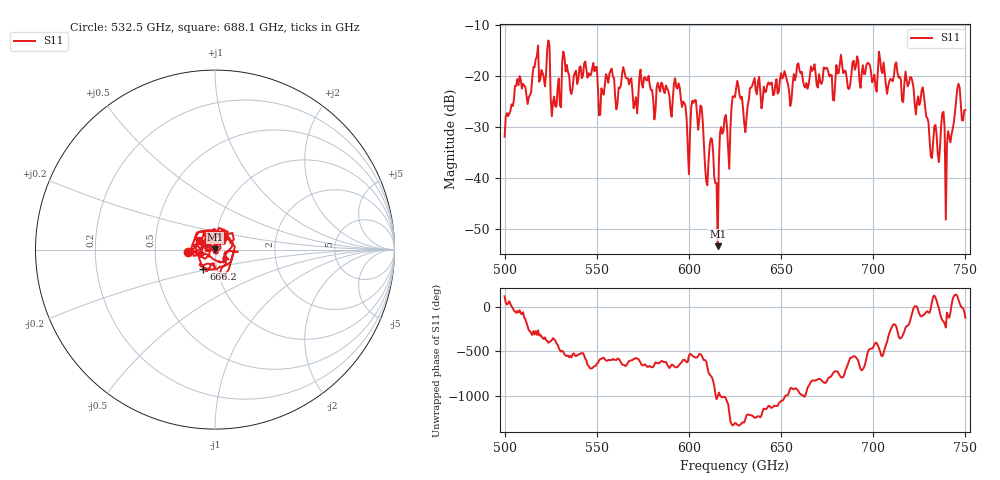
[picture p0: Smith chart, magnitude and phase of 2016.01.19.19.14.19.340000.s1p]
!Created with skrf (http://scikit-rf.org).
# GHz S RI R 50.0
!freq ReS11 ImS11
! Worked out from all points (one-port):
!   401 points, 500 GHz to 750 GHz, reference 50 ohm
!   lowest |S11| = -53.4 dB at 615.6 GHz (marker M1), VSWR 1.00, Z = 50.1 + j0.201 ohm
!   |S11| at or under -10 dB: start of sweep to end of sweep
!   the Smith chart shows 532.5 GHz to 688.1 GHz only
!   S11 on the Smith chart (normalised r, x): 532.5 GHz: 0.74, -0.02; 666.2 GHz: 0.86, -0.19; 688.1 GHz: 0.84, +0.09
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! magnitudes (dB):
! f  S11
! 500 GHz  -31.9
! 513.1 GHz  -24.2
! 516.9 GHz  -16.7
! 523.8 GHz  -13.0
! 526.9 GHz  -24.0
! 531.2 GHz  -17.2
! 532.5 GHz  -16.4
! 562.5 GHz  -22.4
! 593.8 GHz  -22.5
! 599.4 GHz  -33.8
! 603.1 GHz  -24.8
! 606.9 GHz  -26.1
! 609.4 GHz  -40.6
! 611.9 GHz  -32.2
! 615.6 GHz  -53.4
! 618.1 GHz  -31.3
! 621.9 GHz  -38.2
! 625 GHz  -24.1
! 630.6 GHz  -31.0
! 634.4 GHz  -21.9
! 656.2 GHz  -21.7
! 666.2 GHz  -18.1
! 687.5 GHz  -21.7
! 688.1 GHz  -19.8
! 718.8 GHz  -22.0
! 740.6 GHz  -30.8
! 745.6 GHz  -22.4
! 750 GHz  -26.7
